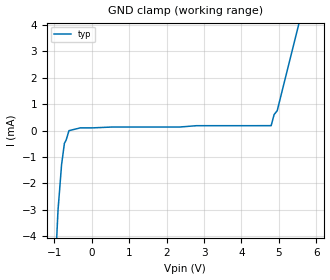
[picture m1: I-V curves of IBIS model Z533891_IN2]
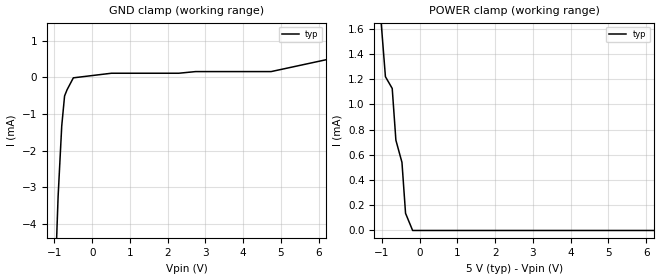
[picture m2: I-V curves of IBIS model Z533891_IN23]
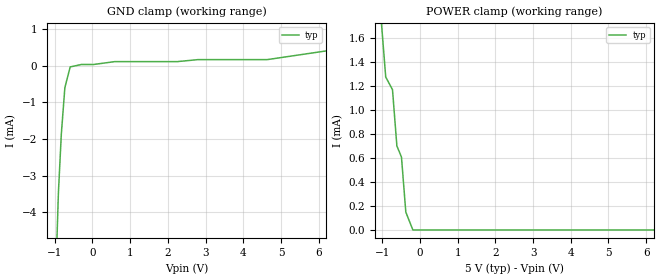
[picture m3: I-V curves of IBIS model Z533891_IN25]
| YOU ARE ONLY AUTHORIZED TO USE THIS SOFTWARE
| ACCORDING TO LICENSOR'S LICENSE RESTRICTIONS.
[IBIS Ver] 3.1
[File Name] mc10e150fn_pecl.ibs
[File Rev] 2.0
[Source] Measured and created by ICX Technology
[Date] Friday 7/14/00 9:07:49 AM
[Copyright]
| (C) COPYRIGHT 1993-2000
| MENTOR GRAPHICS CORPORATION
| ICX STANDARD LIBRARY, ICX PROJECT MODELING,
| ICX CUSTOM MODELING, ICX VENDOR MODEL
| ALL RIGHTS RESERVED.
| THE FOLLOWING ARE TRADEMARKS OR SERVICE MARKS OF
| MENTOR GRAPHICS CORPORATION:ICX (R), ICX STANDARD
| LIBRARY(R), ICX PROJECT MODELING(R), ICX CUSTOM
| MODELING(R), qualityIBIS(TM), MODELVIEWER(TM),
| AND MODELEDITOR(TM)
| ALL COPIES OF SOFTWARE, INCLUDING BUT NOT LIMITED TO
| ANY MODIFICATIONS, ENHANCEMENTS OR DERIVATIVE WORKS,
| MUST CONTAIN ALL MENTOR GRAPHICS CORPORATION'S
| NOTICES AND LEGENDS, INCLUDING THOSE EMBEDDED IN
| SOFTWARE AND THOSE AFFIXED TO SOFTWARE MEDIUM
| AND CONTAINER, AS RECEIVED FROM MENTOR GRAPHICS
| CORPORATION.
|  ZAP Model Builder 2.7
[Component] MC10E150FN_PECL
[Manufacturer] OnSemiconductor
[Package]
| variable   typ   min   max
R_pkg  .083ohms NA NA
L_pkg  4.299nH NA NA
C_pkg  1.045pF NA NA
[Pin] signal_name  model_name  R_pin  L_pin C_pin
1 VEE GND .08 3.94n .925p
2 D2 Z533891_IN2 .082 4.14n .995p
3 D1 Z533891_IN2 .084 4.354n 1.065p
4 D0 Z533891_IN2 .086 4.583n 1.135p
5 NC NC .086 4.583n 1.135p
6 VCCO POWER .084 4.354n 1.065p
7 Q0 Z533891_OUT13 .082 4.14n .995p
8 _Q0 Z533891_OUT13 .08 3.94n .925p
9 Q1 Z533891_OUT13 .082 4.14n .995p
10 _Q1 Z533891_OUT13 .084 4.354n 1.065p
11 VCCO POWER .086 4.583n 1.135p
12 Q2 Z533891_OUT13 .086 4.583n 1.135p
13 _Q2 Z533891_OUT13 .084 4.354n 1.065p
14 Q3 Z533891_OUT13 .082 4.14n .995p
15 _Q3 Z533891_OUT13 .08 3.94n .925p
16 VCC POWER .082 4.14n .995p
17 Q4 Z533891_OUT13 .084 4.354n 1.065p
18 _Q4 Z533891_OUT13 .086 4.583n 1.135p
19 Q5 Z533891_OUT13 .086 4.583n 1.135p
20 _Q5 Z533891_OUT13 .084 4.354n 1.065p
21 VCCO POWER .082 4.14n .995p
22 NC NC .08 3.94n .925p
23 LEN1 Z533891_IN23 .082 4.14n .995p
24 LEN2 Z533891_IN23 .084 4.354n 1.065p
25 MR Z533891_IN25 .086 4.583n 1.135p
26 D5 Z533891_IN2 .086 4.583n 1.135p
27 D4 Z533891_IN2 .084 4.354n 1.065p
28 D3 Z533891_IN2 .082 4.14n .995p
| Models and submodels in the file (4): Z533891_IN2 (Input_ECL), Z533891_IN23 (Input_ECL), Z533891_IN25 (Input_ECL), Z533891_OUT13 (Output_ECL)
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| (C) COPYRIGHT 1993-2000
| MENTOR GRAPHICS CORPORATION
| ICX STANDARD LIBRARY, ICX PROJECT MODELING,
| ICX CUSTOM MODELING, ICX VENDOR MODEL
| ALL RIGHTS RESERVED.
| THE FOLLOWING ARE TRADEMARKS OR SERVICE MARKS OF
| MENTOR GRAPHICS CORPORATION:ICX (R), ICX STANDARD
| LIBRARY(R), ICX PROJECT MODELING(R), ICX CUSTOM
| MODELING(R), qualityIBIS(TM), MODELVIEWER(TM),
| AND MODELEDITOR(TM)
| ALL COPIES OF SOFTWARE, INCLUDING BUT NOT LIMITED TO
| ANY MODIFICATIONS, ENHANCEMENTS OR DERIVATIVE WORKS,
| MUST CONTAIN ALL MENTOR GRAPHICS CORPORATION'S
| NOTICES AND LEGENDS, INCLUDING THOSE EMBEDDED IN
| SOFTWARE AND THOSE AFFIXED TO SOFTWARE MEDIUM
| AND CONTAINER, AS RECEIVED FROM MENTOR GRAPHICS
| CORPORATION.
| Model Application Version 1.89 2/18/99.
[Model] Z533891_IN2
Model_type Input_ECL
Vinl = 3.520V
Vinh = 3.830V
C_comp 4.000pF NA NA
| variable typ   min   max
[Voltage Range] 5.000V NA NA
[GND Clamp Reference] 0.000V NA NA
[POWER Clamp Reference] 5.000V NA NA
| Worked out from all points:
|   GND clamp passes 1 mA (typ) near -0.78 V on its own axis
[GND Clamp]
-5V       -218.6mA   NA         NA
-1.078V   -8.265mA   NA         NA
-903.3mV  -3.019mA   NA         NA
-807.7mV  -1.29mA    NA         NA
-732.2mV  -483.1uA   NA         NA
-610.3mV  -5.732uA   NA         NA
-305.2mV  100.9uA    NA         NA
550.2mV   132.4uA    NA         NA
4.795V    185.8uA    NA         NA
4.873V    601.8uA    NA         NA
4.956V    749.4uA    NA         NA
10V       29.39mA    NA         NA
[POWER Clamp]
-5V       0A         NA         NA
10V       0A         NA         NA
| (C) COPYRIGHT 1993-2000
| MENTOR GRAPHICS CORPORATION
| ICX STANDARD LIBRARY, ICX PROJECT MODELING,
| ICX CUSTOM MODELING, ICX VENDOR MODEL
| ALL RIGHTS RESERVED.
| THE FOLLOWING ARE TRADEMARKS OR SERVICE MARKS OF
| MENTOR GRAPHICS CORPORATION:ICX (R), ICX STANDARD
| LIBRARY(R), ICX PROJECT MODELING(R), ICX CUSTOM
| MODELING(R), qualityIBIS(TM), MODELVIEWER(TM),
| AND MODELEDITOR(TM)
| ALL COPIES OF SOFTWARE, INCLUDING BUT NOT LIMITED TO
| ANY MODIFICATIONS, ENHANCEMENTS OR DERIVATIVE WORKS,
| MUST CONTAIN ALL MENTOR GRAPHICS CORPORATION'S
| NOTICES AND LEGENDS, INCLUDING THOSE EMBEDDED IN
| SOFTWARE AND THOSE AFFIXED TO SOFTWARE MEDIUM
| AND CONTAINER, AS RECEIVED FROM MENTOR GRAPHICS
| CORPORATION.
| Model Application Version 1.89 2/18/99.
[Model] Z533891_IN23
Model_type Input_ECL
Vinl = 3.520V
Vinh = 3.830V
C_comp 4.000pF NA NA
| variable typ   min   max
[Voltage Range] 5.000V NA NA
[GND Clamp Reference] 0.000V NA NA
[POWER Clamp Reference] 5.000V NA NA
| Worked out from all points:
|   GND clamp passes 1 mA (typ) near -0.78 V on its own axis
|   POWER clamp passes 1 mA (typ) near -0.70 V on its own axis
[GND Clamp]
-5V       -254.5mA   NA         NA
-1.04V    -7.257mA   NA         NA
-903.2mV  -3.252mA   NA         NA
-806.9mV  -1.324mA   NA         NA
-731.8mV  -507.9uA   NA         NA
-666.2mV  -340.6uA   NA         NA
-499.6mV  -14.3uA    NA         NA
507.4mV   111uA      NA         NA
2.293V    111uA      NA         NA
2.74V     156.3uA    NA         NA
4.74V     156.3uA    NA         NA
10V       1.324mA    NA         NA
[POWER Clamp]
-5V       18.36mA    NA         NA
-1.427V   2.337mA    NA         NA
-1.25V    2.187mA    NA         NA
-1.147V   1.757mA    NA         NA
-1.03V    1.683mA    NA         NA
-908mV    1.219mA    NA         NA
-728mV    1.126mA    NA         NA
-631mV    715.8uA    NA         NA
-470mV    539.8uA    NA         NA
-375mV    136.1uA    NA         NA
-187.5mV  0A         NA         NA
10V       0A         NA         NA
| (C) COPYRIGHT 1993-2000
| MENTOR GRAPHICS CORPORATION
| ICX STANDARD LIBRARY, ICX PROJECT MODELING,
| ICX CUSTOM MODELING, ICX VENDOR MODEL
| ALL RIGHTS RESERVED.
| THE FOLLOWING ARE TRADEMARKS OR SERVICE MARKS OF
| MENTOR GRAPHICS CORPORATION:ICX (R), ICX STANDARD
| LIBRARY(R), ICX PROJECT MODELING(R), ICX CUSTOM
| MODELING(R), qualityIBIS(TM), MODELVIEWER(TM),
| AND MODELEDITOR(TM)
| ALL COPIES OF SOFTWARE, INCLUDING BUT NOT LIMITED TO
| ANY MODIFICATIONS, ENHANCEMENTS OR DERIVATIVE WORKS,
| MUST CONTAIN ALL MENTOR GRAPHICS CORPORATION'S
| NOTICES AND LEGENDS, INCLUDING THOSE EMBEDDED IN
| SOFTWARE AND THOSE AFFIXED TO SOFTWARE MEDIUM
| AND CONTAINER, AS RECEIVED FROM MENTOR GRAPHICS
| CORPORATION.
| Model Application Version 1.89 2/18/99.
[Model] Z533891_IN25
Model_type Input_ECL
Vinl = 3.520V
Vinh = 3.830V
C_comp 4.000pF NA NA
| variable typ   min   max
[Voltage Range] 5.000V NA NA
[GND Clamp Reference] 0.000V NA NA
[POWER Clamp Reference] 5.000V NA NA
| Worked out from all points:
|   GND clamp passes 1 mA (typ) near -0.76 V on its own axis
|   POWER clamp passes 1 mA (typ) near -0.69 V on its own axis
[GND Clamp]
-5V       -337.1mA   NA         NA
-1.02V    -7.308mA   NA         NA
-903.1mV  -3.471mA   NA         NA
-825.3mV  -1.864mA   NA         NA
-731.4mV  -600.6uA   NA         NA
-590.2mV  -38.42uA   NA         NA
-295.1mV  28.11uA    NA         NA
28.75mV   28.11uA    NA         NA
589.7mV   106.1uA    NA         NA
2.799V    160.7uA    NA         NA
4.634V    160.7uA    NA         NA
10V       973.5uA    NA         NA
[POWER Clamp]
-5V       19.22mA    NA         NA
-1.427V   2.442mA    NA         NA
-1.249V   2.285mA    NA         NA
-1.147V   1.847mA    NA         NA
-1.03V    1.763mA    NA         NA
-908mV    1.278mA    NA         NA
-728mV    1.172mA    NA         NA
-612mV    702.2uA    NA         NA
-490mV    608.7uA    NA         NA
-375mV    149.3uA    NA         NA
-187.5mV  0A         NA         NA
10V       0A         NA         NA
